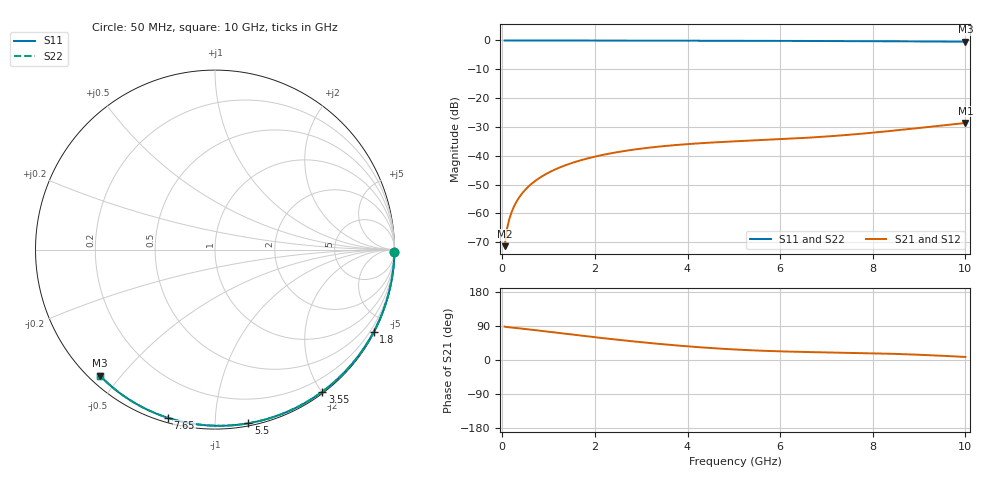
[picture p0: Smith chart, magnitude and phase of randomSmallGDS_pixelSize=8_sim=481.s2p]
! freq	dB(S11)	phase(S11)	dB(S12)	phase(S12)
!  dB(S21)	phase(S21)	dB(S22)	phase(S22)
!S-par simulation data
#  GHz  S  DB  R 50
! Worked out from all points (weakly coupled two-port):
!   200 points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, 50 MHz to 10 GHz, reference 50 ohm
!   highest |S21| = -28.64 dB at 10 GHz (marker M1); lowest = -71.4 dB at 50 MHz (marker M2)
!   lowest |S11| = -0.4 dB at 10 GHz (marker M3), VSWR 39.62, Z = 1.51 - j22.1 ohm
!   |S11| at or under -10 dB: nowhere
!   |S22| runs from -0.4 to 0.0 dB; largest |S21 - S12| = 0
!   S11 on the Smith chart (normalised r, x): 50 MHz: open; 1.8 GHz: 0.04, -4.09; 3.55 GHz: 0.02, -2.01; 5.5 GHz: 0.02, -1.21; 7.65 GHz: 0.02, -0.76; 10 GHz: 0.03, -0.44
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0.05  -0.00 -0.8  -71.37 88.1  -71.37 88.1  -0.00 -0.8
0.1  -0.00 -1.6  -65.48 87.0  -65.48 87.0  -0.00 -1.6
0.15  -0.00 -2.3  -62.05 86.4  -62.05 86.4  -0.00 -2.3
0.2  -0.00 -3.1  -59.60 85.8  -59.60 85.8  -0.00 -3.1
0.25  -0.00 -3.9  -57.69 85.2  -57.69 85.2  -0.00 -3.9
0.35  -0.00 -5.4  -54.80 83.9  -54.80 83.9  -0.00 -5.4
0.5  -0.01 -7.7  -51.74 81.8  -51.74 81.8  -0.01 -7.7
0.7  -0.01 -10.8  -48.86 78.9  -48.86 78.9  -0.01 -10.8
1  -0.02 -15.4  -45.85 74.5  -45.85 74.5  -0.02 -15.4
1.35  -0.03 -20.7  -43.38 69.3  -43.38 69.3  -0.03 -20.7
1.75  -0.03 -26.7  -41.32 63.6  -41.32 63.6  -0.03 -26.7
1.8  -0.04 -27.5  -41.10 62.9  -41.10 62.9  -0.03 -27.4
2.5  -0.05 -37.8  -38.71 53.3  -38.71 53.3  -0.05 -37.8
3.4  -0.07 -50.8  -36.80 42.3  -36.80 42.3  -0.07 -50.7
3.55  -0.07 -52.9  -36.56 40.7  -36.56 40.7  -0.07 -52.8
4.3  -0.09 -63.3  -35.63 33.3  -35.63 33.3  -0.09 -63.2
5.05  -0.11 -73.3  -34.97 27.6  -34.97 27.6  -0.11 -73.2
5.5  -0.13 -79.2  -34.64 25.0  -34.64 25.0  -0.13 -79.1
6.7  -0.18 -94.2  -33.64 20.8  -33.64 20.8  -0.18 -94.1
7.65  -0.24 -105.6  -32.50 18.7  -32.50 18.7  -0.24 -105.5
8.35  -0.29 -113.7  -31.44 16.6  -31.44 16.6  -0.28 -113.6
10  -0.44 -132.3  -28.64 8.0  -28.64 8.0  -0.44 -132.2
